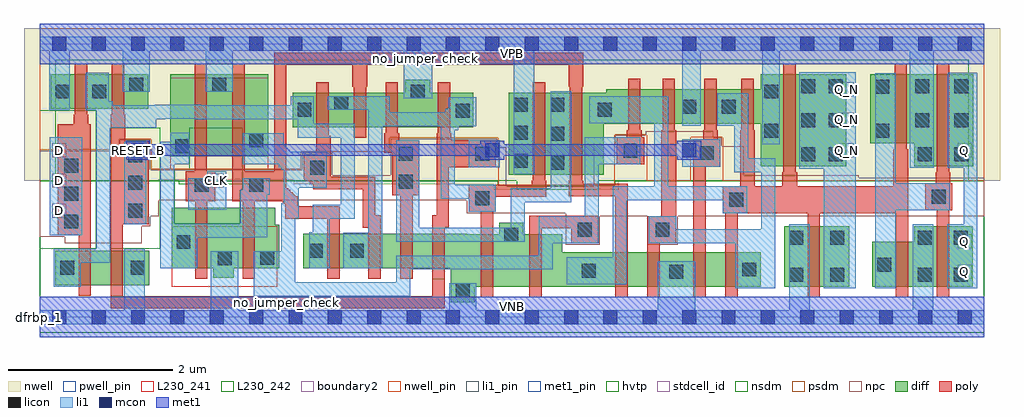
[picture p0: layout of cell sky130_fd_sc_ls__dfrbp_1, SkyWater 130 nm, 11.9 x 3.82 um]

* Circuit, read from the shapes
.subckt sky130_fd_sc_ls__dfrbp_1 CLK D Q Q_N RESET_B VGND VNB VPB VPWR
XM1 n1 D n2 VNB sky130_fd_pr__nfet_01v8 w=0.42 l=0.15
XM2 VGND RESET_B n1 VNB sky130_fd_pr__nfet_01v8 w=0.42 l=0.15
XM3 VGND CLK n3 VNB sky130_fd_pr__nfet_01v8 w=0.74 l=0.15
XM4 n4 n3 VGND VNB sky130_fd_pr__nfet_01v8 w=0.74 l=0.15
XM5 n5 n3 n2 VNB sky130_fd_pr__nfet_01v8 w=0.42 l=0.15
XM6 n6 n4 n5 VNB sky130_fd_pr__nfet_01v8 w=0.42 l=0.15
XM7 n7 n8 n6 VNB sky130_fd_pr__nfet_01v8 w=0.42 l=0.15
XM8 VGND RESET_B n7 VNB sky130_fd_pr__nfet_01v8 w=0.42 l=0.15
XM9 n8 n5 VGND VNB sky130_fd_pr__nfet_01v8 w=0.64 l=0.15
XM10 n9 n4 n8 VNB sky130_fd_pr__nfet_01v8 w=0.64 l=0.15
XM11 n10 n3 n9 VNB sky130_fd_pr__nfet_01v8 w=0.42 l=0.15
XM12 VGND n11 n10 VNB sky130_fd_pr__nfet_01v8 w=0.42 l=0.15
XM13 n12 RESET_B VGND VNB sky130_fd_pr__nfet_01v8 w=0.42 l=0.15
XM14 n11 n9 n12 VNB sky130_fd_pr__nfet_01v8 w=0.42 l=0.15
XM15 Q_N n9 VGND VNB sky130_fd_pr__nfet_01v8 w=0.74 l=0.15
XM16 VGND n9 n13 VNB sky130_fd_pr__nfet_01v8 w=0.55 l=0.15
XM17 Q n13 VGND VNB sky130_fd_pr__nfet_01v8 w=0.74 l=0.15
XM18 n2 D VPWR VPB sky130_fd_pr__pfet_01v8_hvt w=0.42 l=0.15
XM19 VPWR RESET_B n2 VPB sky130_fd_pr__pfet_01v8_hvt w=0.42 l=0.15
XM20 VPWR CLK n3 VPB sky130_fd_pr__pfet_01v8_hvt w=1 l=0.15
XM21 n4 n3 VPWR VPB sky130_fd_pr__pfet_01v8_hvt w=1 l=0.15
XM22 n5 n4 n2 VPB sky130_fd_pr__pfet_01v8_hvt w=0.42 l=0.15
XM23 n14 n3 n5 VPB sky130_fd_pr__pfet_01v8_hvt w=0.42 l=0.15
XM24 VPWR n8 n14 VPB sky130_fd_pr__pfet_01v8_hvt w=0.42 l=0.15
XM25 n5 RESET_B VPWR VPB sky130_fd_pr__pfet_01v8_hvt w=0.42 l=0.15
XM26 n8 n5 VPWR VPB sky130_fd_pr__pfet_01v8_hvt w=1 l=0.15
XM27 n9 n3 n8 VPB sky130_fd_pr__pfet_01v8_hvt w=1 l=0.15
XM28 n15 n4 n9 VPB sky130_fd_pr__pfet_01v8_hvt w=0.42 l=0.15
XM29 VPWR n11 n15 VPB sky130_fd_pr__pfet_01v8_hvt w=0.42 l=0.15
XM30 n11 RESET_B VPWR VPB sky130_fd_pr__pfet_01v8_hvt w=0.42 l=0.15
XM31 VPWR n9 n11 VPB sky130_fd_pr__pfet_01v8_hvt w=0.42 l=0.15
XM32 Q_N n9 VPWR VPB sky130_fd_pr__pfet_01v8_hvt w=1.12 l=0.15
XM33 VPWR n9 n13 VPB sky130_fd_pr__pfet_01v8_hvt w=0.84 l=0.15
XM34 Q n13 VPWR VPB sky130_fd_pr__pfet_01v8_hvt w=1.12 l=0.15
.ends

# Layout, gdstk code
import gdstk
lib = gdstk.Library(unit=1e-6, precision=1e-09)
def R(c, l, rs):  # rectangles x0, y0, x1, y1
    for r in rs: c.add(gdstk.rectangle(r[:2], r[2:], *l))
def A(c, l, x, y, w, h, nx, ny, dx, dy):  # array of equal rectangles
    R(c, l, [(x+i*dx, y+j*dy, x+i*dx+w, y+j*dy+h) for i in range(nx) for j in range(ny)])
def P(c, l, *ps):  # polygons
    for p in ps: c.add(gdstk.Polygon(p, *l))
nwell_pin = (64, 16)
nwell = (64, 20)
diff = (65, 20)
poly = (66, 20)
licon = (66, 44)
li1_pin = (67, 16)
li1 = (67, 20)
mcon = (67, 44)
met1_pin = (68, 16)
met1 = (68, 20)
hvtp = (78, 44)
stdcell_id = (81, 4)
nsdm = (93, 44)
psdm = (94, 20)
npc = (95, 20)
pwell_pin = (122, 16)
L230_241 = (230, 241)
L230_242 = (230, 242)
boundary2 = (236, 0)

sky130_fd_sc_ls__dfrbp_1 = lib.new_cell('sky130_fd_sc_ls__dfrbp_1')
R(sky130_fd_sc_ls__dfrbp_1, nwell_pin, [(0,3.085,11.52,3.33)])
P(sky130_fd_sc_ls__dfrbp_1, nwell, [(11.71,3.52),(-0.19,3.52),(-0.19,1.66),(1.44,1.66),(1.44,1.675),(3.1,1.675),(3.1,1.62),(5.54,1.62),(5.54,1.555),(7.06,1.555),(7.06,1.66),(11.71,1.66)])
R(sky130_fd_sc_ls__dfrbp_1, diff, [(9.08,0.37,9.87,1.11), (0.19,0.39,1.34,0.81), (1.595,1.96,2.785,2.96), (0.135,2.54,1.325,2.96)])
P(sky130_fd_sc_ls__dfrbp_1, diff, [(5.285,2.735),(4.765,2.735),(4.765,2.895),(4.46,2.895),(4.46,2.735),(3.085,2.735),(3.085,2.315),(5.285,2.315)],
  [(8.795,0.79),(6.37,0.79),(6.37,1.01),(5.895,1.01),(5.895,1.15),(5.605,1.15),(5.605,1.01),(5.21,1.01),(5.21,1.015),(3.215,1.015),(3.215,0.595),(5.015,0.595),(5.015,0.18),(5.305,0.18),(5.305,0.37),(8.795,0.37)],
  [(9.835,2.96),(8.795,2.96),(8.795,2.775),(6.91,2.775),(6.91,2.735),(5.72,2.735),(5.72,1.735),(6.88,1.735),(6.88,2.355),(8.795,2.355),(8.795,1.84),(9.835,1.84)],
  [(11.375,1.11),(10.665,1.11),(10.665,0.92),(10.155,0.92),(10.155,0.37),(11.375,0.37)],
  [(11.385,2.96),(10.13,2.96),(10.13,2.12),(10.665,2.12),(10.665,1.84),(11.385,1.84)],
  [(2.92,1.125),(2.875,1.125),(2.875,1.335),(1.61,1.335),(1.61,0.595),(2.12,0.595),(2.12,0.48),(2.37,0.48),(2.37,0.595),(2.92,0.595)])
P(sky130_fd_sc_ls__dfrbp_1, poly, [(0.625,2.35),(0.595,2.35),(0.595,2.465),(0.58,2.465),(0.58,3.09),(0.43,3.09),(0.43,2.465),(0.415,2.465),(0.415,2.35),(0.22,2.35),(0.22,1),(0.475,1),(0.475,0.26),(0.625,0.26)],
  [(2.14,1.775),(2.04,1.775),(2.04,3.09),(1.89,3.09),(1.89,1.775),(1.785,1.775),(1.785,1.41),(1.895,1.41),(1.895,0.465),(2.045,0.465),(2.045,1.41),(2.14,1.41)],
  [(10.59,2.045),(10.575,2.045),(10.575,3.09),(10.425,3.09),(10.425,2.045),(10.41,2.045),(10.41,1.595),(9.235,1.595),(9.235,1.765),(9.22,1.765),(9.22,3.09),(9.07,3.09),(9.07,1.765),(9.055,1.765),(9.055,1.595),(8.72,1.595),(8.72,2.28),(8.705,2.28),(8.705,2.905),(8.555,2.905),(8.555,2.28),(8.54,2.28),(8.54,1.595),(8.33,1.595),(8.33,1.265),(8.36,1.265),(8.36,0.24),(8.51,0.24),(8.51,1.265),(9.365,1.265),(9.365,0.24),(9.515,0.24),(9.515,1.265),(10.44,1.265),(10.44,0.24),(10.59,0.24)],
  [(11.13,1.63),(11.105,1.63),(11.105,1.765),(11.09,1.765),(11.09,3.09),(10.94,3.09),(10.94,1.765),(10.925,1.765),(10.925,1.63),(10.8,1.63),(10.8,1.3),(10.94,1.3),(10.94,0.24),(11.09,0.24),(11.09,1.3),(11.13,1.3)],
  [(4.16,1.24),(4.09,1.24),(4.09,1.71),(3.55,1.71),(3.55,2.21),(3.525,2.21),(3.525,2.865),(3.375,2.865),(3.375,1.985),(3.22,1.985),(3.22,1.695),(3.23,1.695),(3.23,1.675),(3.24,1.675),(3.24,1.665),(3.26,1.665),(3.26,1.655),(3.295,1.655),(3.295,1.62),(3.335,1.62),(3.335,1.56),(3.94,1.56),(3.94,1.09),(4.01,1.09),(4.01,0.465),(4.16,0.465)],
  [(4.63,2.155),(4.385,2.155),(4.385,2.24),(4.37,2.24),(4.37,2.865),(4.22,2.865),(4.22,2.24),(4.205,2.24),(4.205,2.005),(4.3,2.005),(4.3,1.485),(4.4,1.485),(4.4,0.465),(4.55,0.465),(4.55,1.485),(4.63,1.485)],
  [(5.56,2.155),(5.02,2.155),(5.02,2.24),(5.005,2.24),(5.005,2.865),(4.855,2.865),(4.855,2.24),(4.84,2.24),(4.84,1.24),(4.79,1.24),(4.79,0.255),(1.015,0.255),(1.015,1.13),(1.33,1.13),(1.33,2.14),(1.045,2.14),(1.045,2.465),(1.03,2.465),(1.03,3.09),(0.88,3.09),(0.88,2.465),(0.865,2.465),(0.865,0.105),(4.94,0.105),(4.94,1.09),(4.99,1.09),(4.99,1.825),(5.56,1.825)],
  [(6.18,1.66),(6.165,1.66),(6.165,2.865),(6.015,2.865),(6.015,1.66),(6,1.66),(6,1.615),(5.23,1.615),(5.23,1.285),(5.38,1.285),(5.38,0.24),(5.53,0.24),(5.53,1.285),(5.56,1.285),(5.56,1.465),(6.18,1.465)],
  [(6.81,1.235),(5.97,1.235),(5.97,0.24),(6.12,0.24),(6.12,1.085),(6.48,1.085),(6.48,0.9),(6.81,0.9)],
  [(7.17,1.625),(6.63,1.625),(6.63,1.66),(6.615,1.66),(6.615,2.81),(6.63,2.81),(6.63,3.225),(2.86,3.225),(2.86,1.775),(2.5,1.775),(2.5,3.09),(2.35,3.09),(2.35,1.41),(2.475,1.41),(2.475,0.465),(2.625,0.465),(2.625,1.41),(2.96,1.41),(2.96,1.4),(2.975,1.4),(2.975,1.39),(2.985,1.39),(2.985,1.38),(2.995,1.38),(2.995,1.2),(3.51,1.2),(3.51,0.465),(3.66,0.465),(3.66,1.35),(3.145,1.35),(3.145,1.47),(3.12,1.47),(3.12,1.485),(3.105,1.485),(3.105,1.5),(3.095,1.5),(3.095,1.51),(3.085,1.51),(3.085,1.52),(3.065,1.52),(3.065,1.53),(3.055,1.53),(3.055,1.55),(3.03,1.55),(3.03,1.57),(3.01,1.57),(3.01,3.075),(3.815,3.075),(3.815,2.81),(3.83,2.81),(3.83,2.185),(3.98,2.185),(3.98,2.81),(3.995,2.81),(3.995,3.075),(6.45,3.075),(6.45,2.81),(6.465,2.81),(6.465,1.66),(6.45,1.66),(6.45,1.475),(7.02,1.475),(7.02,0.24),(7.17,0.24)],
  [(7.37,2.195),(7.34,2.195),(7.34,2.28),(7.325,2.28),(7.325,2.905),(7.175,2.905),(7.175,2.28),(7.16,2.28),(7.16,2.195),(7.04,2.195),(7.04,1.865),(7.37,1.865)],
  [(8.3,2.165),(8.27,2.165),(8.27,2.28),(8.255,2.28),(8.255,2.905),(8.105,2.905),(8.105,2.28),(8.09,2.28),(8.09,2.165),(7.97,2.165),(7.97,0.24),(8.12,0.24),(8.12,1.835),(8.3,1.835)],
  [(7.76,2.28),(7.745,2.28),(7.745,2.905),(7.595,2.905),(7.595,2.28),(7.58,2.28),(7.58,1.23),(7.41,1.23),(7.41,0.24),(7.56,0.24),(7.56,0.9),(7.76,0.9)])
A(sky130_fd_sc_ls__dfrbp_1, licon, 0.3, 1.08, 0.17, 0.17, 1, 3, 0, 0.34)
A(sky130_fd_sc_ls__dfrbp_1, licon, 1.08, 1.21, 0.17, 0.17, 1, 3, 0, 0.34)
A(sky130_fd_sc_ls__dfrbp_1, licon, 6.23, 1.795, 0.17, 0.17, 1, 3, 0, 0.355)
A(sky130_fd_sc_ls__dfrbp_1, licon, 9.285, 1.9, 0.17, 0.17, 1, 3, 0, 0.415)
A(sky130_fd_sc_ls__dfrbp_1, licon, 9.625, 1.9, 0.17, 0.17, 1, 3, 0, 0.415)
A(sky130_fd_sc_ls__dfrbp_1, licon, 11.155, 1.9, 0.17, 0.17, 1, 3, 0, 0.415)
R(sky130_fd_sc_ls__dfrbp_1, licon, [(5.075,0.24,5.245,0.41), (9.14,0.43,9.31,0.6), (9.64,0.43,9.81,0.6), (10.705,0.43,10.875,0.6), (11.145,0.43,11.315,0.6), (7.68,0.47,7.85,0.64), (6.61,0.48,6.78,0.65), (8.565,0.495,8.735,0.665), (0.25,0.515,0.42,0.685), (1.11,0.515,1.28,0.685), (10.215,0.555,10.385,0.725), (2.17,0.63,2.34,0.8), (2.69,0.635,2.86,0.805), (3.285,0.725,3.455,0.895), (3.785,0.725,3.955,0.895), (1.67,0.83,1.84,1), (9.14,0.88,9.31,1.05), (9.64,0.88,9.81,1.05), (10.705,0.88,10.875,1.05), (11.145,0.88,11.315,1.05), (5.665,0.92,5.835,1.09), (6.56,0.98,6.73,1.15), (7.51,0.98,7.68,1.15), (8.41,1.345,8.58,1.515), (5.31,1.365,5.48,1.535), (10.88,1.38,11.05,1.55), (1.89,1.525,2.06,1.695), (2.555,1.525,2.725,1.695), (4.38,1.565,4.55,1.735), (3.3,1.735,3.47,1.905), (5.78,1.82,5.95,1.99), (10.705,1.9,10.875,2.07), (4.38,1.905,4.55,2.075), (5.31,1.905,5.48,2.075), (8.05,1.915,8.22,2.085), (7.12,1.945,7.29,2.115), (1.655,2,1.825,2.17), (2.555,2.07,2.725,2.24), (5.78,2.16,5.95,2.33), (8.835,2.185,9.005,2.355), (10.19,2.185,10.36,2.355), (10.675,2.315,10.845,2.485), (5.075,2.43,5.245,2.6), (3.145,2.44,3.315,2.61), (6.805,2.445,6.975,2.615), (7.835,2.48,8.005,2.65), (8.32,2.48,8.49,2.65), (5.78,2.505,5.95,2.675), (3.595,2.525,3.765,2.695), (0.195,2.665,0.365,2.835), (0.645,2.665,0.815,2.835), (4.525,2.665,4.695,2.835), (8.835,2.665,9.005,2.835), (10.19,2.725,10.36,2.895), (10.675,2.73,10.845,2.9), (1.095,2.75,1.265,2.92), (2.105,2.75,2.275,2.92)])
A(sky130_fd_sc_ls__dfrbp_1, li1_pin, 0.155, 1.21, 0.17, 0.17, 1, 3, 0, 0.37)
A(sky130_fd_sc_ls__dfrbp_1, li1_pin, 9.755, 1.95, 0.17, 0.17, 1, 3, 0, 0.37)
R(sky130_fd_sc_ls__dfrbp_1, li1_pin, [(11.195,0.47,11.365,0.64), (11.195,0.84,11.365,1.01), (2.075,1.58,2.245,1.75), (11.195,1.95,11.365,2.12)])
R(sky130_fd_sc_ls__dfrbp_1, li1, [(0.125,1,0.52,2.195), (1.03,1.13,1.3,2.14), (5.23,1.825,5.61,2.155), (7.835,1.835,8.3,2.165)])
P(sky130_fd_sc_ls__dfrbp_1, li1, [(2.275,1.78),(2.045,1.78),(2.045,1.695),(1.81,1.695),(1.81,1.31),(2.275,1.31)],
  [(11.52,0.085),(10.895,0.085),(10.895,1.13),(10.645,1.13),(10.645,0.085),(9.39,0.085),(9.39,1.13),(9.14,1.13),(9.14,0.085),(7.995,0.085),(7.995,0.68),(7.535,0.68),(7.535,0.085),(5.325,0.085),(5.325,0.41),(4.995,0.41),(4.995,0.085),(2.42,0.085),(2.42,0.8),(2.09,0.8),(2.09,0.085),(1.28,0.085),(1.28,0.83),(1.03,0.83),(1.03,0.085),(0,0.085),(0,-0.085),(11.52,-0.085)],
  [(11.52,3.415),(0,3.415),(0,3.245),(0.115,3.245),(0.115,2.52),(0.365,2.52),(0.365,3.245),(1.015,3.245),(1.015,2.75),(1.345,2.75),(1.345,3.245),(2.025,3.245),(2.025,2.75),(2.355,2.75),(2.355,3.245),(4.44,3.245),(4.44,2.665),(4.785,2.665),(4.785,3.245),(5.78,3.245),(5.78,1.74),(6.03,1.74),(6.03,3.245),(7.835,3.245),(7.835,2.335),(8.06,2.335),(8.06,3.245),(8.81,3.245),(8.81,2.105),(9.025,2.105),(9.025,3.245),(10.61,3.245),(10.61,1.82),(10.905,1.82),(10.905,3.245),(11.52,3.245)],
  [(2.805,1.695),(2.475,1.695),(2.475,1.55),(2.445,1.55),(2.445,1.14),(1.64,1.14),(1.64,1.865),(1.825,1.865),(1.825,2.25),(1.595,2.25),(1.595,2.14),(1.47,2.14),(1.47,0.595),(1.92,0.595),(1.92,0.97),(2.56,0.97),(2.56,0.975),(2.775,0.975),(2.775,1.49),(2.805,1.49)],
  [(3.84,2.355),(3.345,2.355),(3.345,2.69),(3.065,2.69),(3.065,2.58),(1.965,2.58),(1.965,2.59),(1.405,2.59),(1.405,2.58),(0.89,2.58),(0.89,2.63),(0.845,2.63),(0.845,2.98),(0.565,2.98),(0.565,2.52),(0.69,2.52),(0.69,0.83),(0.17,0.83),(0.17,0.37),(0.5,0.37),(0.5,0.66),(0.86,0.66),(0.86,2.31),(1.425,2.31),(1.425,2.41),(1.53,2.41),(1.53,2.42),(1.89,2.42),(1.89,2.41),(3.145,2.41),(3.145,2.185),(3.67,2.185),(3.67,1.37),(3.33,1.37),(3.33,1.035),(3.285,1.035),(3.285,0.595),(3.535,0.595),(3.535,1.2),(3.84,1.2)],
  [(5.56,1.615),(5.06,1.615),(5.06,2.28),(5.105,2.28),(5.105,2.325),(5.325,2.325),(5.325,2.68),(4.99,2.68),(4.99,2.54),(4.945,2.54),(4.945,2.495),(4.27,2.495),(4.27,2.695),(3.515,2.695),(3.515,2.525),(4.01,2.525),(4.01,1.03),(3.705,1.03),(3.705,0.595),(4.18,0.595),(4.18,2.325),(4.89,2.325),(4.89,1.445),(5.23,1.445),(5.23,1.285),(5.56,1.285)],
  [(6.48,2.755),(6.23,2.755),(6.23,1.57),(5.745,1.57),(5.745,1.09),(4.63,1.09),(4.63,2.155),(4.35,2.155),(4.35,0.92),(5.915,0.92),(5.915,1.4),(6.48,1.4)],
  [(7.325,2.195),(6.65,2.195),(6.65,1.23),(6.085,1.23),(6.085,0.75),(4.35,0.75),(4.35,0.425),(3.115,0.425),(3.115,1.205),(3.16,1.205),(3.16,1.575),(3.5,1.575),(3.5,2.015),(3.05,2.015),(3.05,2.04),(3.025,2.04),(3.025,2.06),(3.02,2.06),(3.02,2.065),(3,2.065),(3,2.08),(2.975,2.08),(2.975,2.24),(2.475,2.24),(2.475,1.865),(2.915,1.865),(2.915,1.825),(2.945,1.825),(2.945,1.795),(2.975,1.795),(2.975,1.39),(2.945,1.39),(2.945,0.805),(2.61,0.805),(2.61,0.255),(4.52,0.255),(4.52,0.58),(6.255,0.58),(6.255,0.9),(6.82,0.9),(6.82,1.865),(7.325,1.865)],
  [(8.63,1.595),(7.665,1.595),(7.665,2.695),(6.7,2.695),(6.7,2.365),(7.495,2.365),(7.495,1.595),(6.99,1.595),(6.99,0.73),(6.425,0.73),(6.425,0.4),(7.16,0.4),(7.16,1.425),(8.33,1.425),(8.33,1.265),(8.63,1.265)],
  [(8.97,1.935),(8.64,1.935),(8.64,2.73),(8.26,2.73),(8.26,2.335),(8.47,2.335),(8.47,1.765),(8.8,1.765),(8.8,1.07),(7.76,1.07),(7.76,1.23),(7.43,1.23),(7.43,0.9),(8.485,0.9),(8.485,0.35),(8.97,0.35)],
  [(9.95,2.985),(9.26,2.985),(9.26,1.81),(9.56,1.81),(9.56,0.35),(9.95,0.35)],
  [(11.095,1.63),(10.44,1.63),(10.44,2.975),(10.19,2.975),(10.19,0.35),(10.44,0.35),(10.44,1.3),(11.095,1.3)],
  [(11.435,2.98),(11.075,2.98),(11.075,1.82),(11.265,1.82),(11.265,1.13),(11.065,1.13),(11.065,0.35),(11.435,0.35)])
A(sky130_fd_sc_ls__dfrbp_1, mcon, 0.155, -0.085, 0.17, 0.17, 24, 2, 0.48, 3.33)
R(sky130_fd_sc_ls__dfrbp_1, mcon, [(1.115,1.95,1.285,2.12), (5.435,1.95,5.605,2.12), (7.835,1.95,8.005,2.12)])
R(sky130_fd_sc_ls__dfrbp_1, met1_pin, [(0,0,11.52,0.245), (1.115,1.95,1.285,2.12), (0,3.085,11.52,3.33)])
R(sky130_fd_sc_ls__dfrbp_1, met1, [(0,-0.245,11.52,0.245), (0,3.085,11.52,3.575)])
P(sky130_fd_sc_ls__dfrbp_1, met1, [(8.065,2.15),(7.775,2.15),(7.775,2.105),(5.665,2.105),(5.665,2.15),(5.375,2.15),(5.375,2.105),(1.345,2.105),(1.345,2.15),(1.055,2.15),(1.055,1.92),(1.345,1.92),(1.345,1.965),(5.375,1.965),(5.375,1.92),(5.665,1.92),(5.665,1.965),(7.775,1.965),(7.775,1.92),(8.065,1.92)])
P(sky130_fd_sc_ls__dfrbp_1, hvtp, [(11.33,3.14),(0.19,3.14),(0.19,1.66),(1.695,1.66),(1.695,1.62),(2.685,1.62),(2.685,1.66),(5.82,1.66),(5.82,1.555),(6.81,1.555),(6.81,1.66),(11.33,1.66)])
R(sky130_fd_sc_ls__dfrbp_1, stdcell_id, [(0,0,11.52,3.33)])
P(sky130_fd_sc_ls__dfrbp_1, nsdm, [(11.52,1.66),(7.01,1.66),(7.01,1.605),(5.59,1.605),(5.59,1.66),(0,1.66),(0,-0.19),(11.52,-0.19)])
P(sky130_fd_sc_ls__dfrbp_1, psdm, [(11.52,3.52),(0,3.52),(0,2.04),(0.97,2.04),(0.97,2.17),(1.36,2.17),(1.36,1.805),(3.19,1.805),(3.19,2.015),(4.27,2.015),(4.27,2.185),(5.59,2.185),(5.59,1.605),(7.01,1.605),(7.01,2.225),(7.4,2.225),(7.4,1.66),(7.94,1.66),(7.94,2.195),(8.33,2.195),(8.33,1.66),(11.52,1.66)])
P(sky130_fd_sc_ls__dfrbp_1, npc, [(11.52,1.7),(9.99,1.7),(9.99,1.73),(8.585,1.73),(8.585,2.08),(8.32,2.08),(8.32,2.185),(8.215,2.185),(8.215,2.265),(7.39,2.265),(7.39,2.215),(7.02,2.215),(7.02,2.11),(6.755,2.11),(6.755,1.595),(5.69,1.595),(5.69,2.07),(5.58,2.07),(5.58,2.175),(4.28,2.175),(4.28,1.73),(3.57,1.73),(3.57,2.005),(3.2,2.005),(3.2,1.795),(1.35,1.795),(1.35,2.16),(0.98,2.16),(0.98,2.03),(0,2.03),(0,0.98),(0.305,0.98),(0.305,0.9),(1.245,0.9),(1.245,1.11),(1.35,1.11),(1.35,1.23),(1.45,1.23),(1.45,1.425),(5.21,1.425),(5.21,1.265),(6.415,1.265),(6.415,0.88),(6.83,0.88),(6.83,1.23),(7.41,1.23),(7.41,0.88),(7.78,0.88),(7.78,1.23),(11.52,1.23)])
R(sky130_fd_sc_ls__dfrbp_1, pwell_pin, [(0,0,11.52,0.245)])
R(sky130_fd_sc_ls__dfrbp_1, L230_241, [(1.61,0.37,2.9,1.11), (0.125,1,0.52,2.195), (1.03,1.13,1.3,2.14), (1.595,1.8,2.785,2.92)])
P(sky130_fd_sc_ls__dfrbp_1, L230_241, [(2.275,1.78),(2.045,1.78),(2.045,1.64),(1.81,1.64),(1.81,1.31),(2.275,1.31)])
R(sky130_fd_sc_ls__dfrbp_1, L230_242, [(0,0.83,0.69,2.52), (0.86,0.83,1.47,2.31)])
P(sky130_fd_sc_ls__dfrbp_1, L230_242, [(4.94,0.465),(4.79,0.465),(4.79,0.255),(1.015,0.255),(1.015,0.26),(0.865,0.26),(0.865,0.105),(4.94,0.105)],
  [(2.475,2.31),(1.825,2.31),(1.825,1.81),(1.64,1.81),(1.64,1.14),(2.445,1.14),(2.445,1.55),(2.475,1.55)])
R(sky130_fd_sc_ls__dfrbp_1, boundary2, [(0,0,11.52,3.33)])
sky130_fd_sc_ls__dfrbp_1.add(gdstk.Label('no_jumper_check', (3.01,0.18), layer=83, texttype=44))
sky130_fd_sc_ls__dfrbp_1.add(gdstk.Label('no_jumper_check', (4.7,3.15), layer=83, texttype=44))
sky130_fd_sc_ls__dfrbp_1.add(gdstk.Label('dfrbp_1', (0,0), layer=83, texttype=44))
sky130_fd_sc_ls__dfrbp_1.add(gdstk.Label('VNB', (5.76,0.123), layer=64, texttype=59))
sky130_fd_sc_ls__dfrbp_1.add(gdstk.Label('VPB', (5.76,3.208), layer=64, texttype=5))
sky130_fd_sc_ls__dfrbp_1.add(gdstk.Label('RESET_B', (1.2,2.035), layer=68, texttype=5))
sky130_fd_sc_ls__dfrbp_1.add(gdstk.Label('VPWR', (5.76,3.208), layer=68, texttype=5))
sky130_fd_sc_ls__dfrbp_1.add(gdstk.Label('VGND', (5.76,0.123), layer=68, texttype=5))
sky130_fd_sc_ls__dfrbp_1.add(gdstk.Label('Q', (11.28,0.555), layer=67, texttype=5))
sky130_fd_sc_ls__dfrbp_1.add(gdstk.Label('Q', (11.28,0.925), layer=67, texttype=5))
sky130_fd_sc_ls__dfrbp_1.add(gdstk.Label('Q', (11.28,2.035), layer=67, texttype=5))
sky130_fd_sc_ls__dfrbp_1.add(gdstk.Label('CLK', (2.16,1.665), layer=67, texttype=5))
sky130_fd_sc_ls__dfrbp_1.add(gdstk.Label('D', (0.24,1.295), layer=67, texttype=5))
sky130_fd_sc_ls__dfrbp_1.add(gdstk.Label('D', (0.24,1.665), layer=67, texttype=5))
sky130_fd_sc_ls__dfrbp_1.add(gdstk.Label('D', (0.24,2.035), layer=67, texttype=5))
sky130_fd_sc_ls__dfrbp_1.add(gdstk.Label('Q_N', (9.84,2.035), layer=67, texttype=5))
sky130_fd_sc_ls__dfrbp_1.add(gdstk.Label('Q_N', (9.84,2.405), layer=67, texttype=5))
sky130_fd_sc_ls__dfrbp_1.add(gdstk.Label('Q_N', (9.84,2.775), layer=67, texttype=5))

lib.write_gds('sky130_fd_sc_ls__dfrbp_1.gds')
